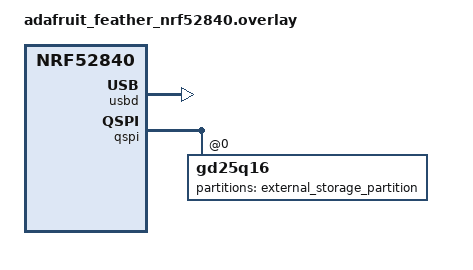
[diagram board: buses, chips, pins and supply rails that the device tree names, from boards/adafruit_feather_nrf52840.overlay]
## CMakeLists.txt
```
cmake_minimum_required(VERSION 3.20.0)
set(BOARD adafruit_feather_nrf52840) # added
find_package(Zephyr REQUIRED HINTS $ENV{ZEPHYR_BASE})

project(ext_flash_demo)

target_sources(app PRIVATE src/main.c)
```

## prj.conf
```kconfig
CONFIG_NVS=y
CONFIG_FLASH=y
CONFIG_FLASH_PAGE_LAYOUT=y
CONFIG_FLASH_MAP=y
CONFIG_NORDIC_QSPI_NOR=y

CONFIG_USB_DEVICE_STACK=y
CONFIG_USB_DEVICE_PRODUCT="adafruitusb"

CONFIG_USB_CDC_ACM=y
CONFIG_UART_LINE_CTRL=y
CONFIG_SERIAL=y
CONFIG_MAIN_STACK_SIZE=2048

# Enable Logging
CONFIG_LOG=y
CONFIG_LOG_MODE_IMMEDIATE=y

# Set Flash and QSPI logging to Debug level
CONFIG_FLASH_LOG_LEVEL_DBG=y

# Direct logs to your USB console
CONFIG_LOG_BACKEND_UART=y
```

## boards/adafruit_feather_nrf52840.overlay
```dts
/ {
    chosen {
        zephyr,console = &cdc_acm;
        zephyr,shell-uart = &cdc_acm;
    };

};

/* Enable the USB device controller */
&usbd {
    status = "okay";

    cdc_acm: cdc_acm {
        compatible = "zephyr,cdc-acm-uart";
        label = "CDC_ACM";
        status = "okay";
    };
};

&qspi {
    gd25q16: gd25q16@0 {
        /* Change this line specifically */
        jedec-id = [ ef 40 15 ]; 
        
        /* The rest can stay the same, but ensure read-only is gone */
        partitions {
            compatible = "fixed-partitions";
            #address-cells = <1>;
            #size-cells = <1>;
            external_storage_partition: partition@0 {
                label = "external_storage_partition";
                reg = <0x00000000 0x00020000>;
            };
        };
    };
};
```

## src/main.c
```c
#include <zephyr/kernel.h>
#include <zephyr/storage/flash_map.h>
#include <zephyr/fs/nvs.h>
#include <zephyr/sys/printk.h>
#include <zephyr/usb/usb_device.h>

// external flash partitions
//#define NVS_PARTITION		 external_storage_partition 
//#define NVS_PARTITION_DEVICE	 FIXED_PARTITION_DEVICE(NVS_PARTITION)
//#define NVS_PARTITION_OFFSET	 FIXED_PARTITION_OFFSET(NVS_PARTITION) 

/* Get the node identifier for the partition label in your overlay */
#define NVS_PARTITION_NODE DT_NODELABEL(external_storage_partition)

/* Use the DT_FLASH_AREA macros to get the device and offset */
#define NVS_PARTITION_DEVICE DEVICE_DT_GET(DT_MTD_FROM_FIXED_PARTITION(NVS_PARTITION_NODE))
#define NVS_PARTITION_OFFSET DT_REG_ADDR(NVS_PARTITION_NODE)

// id for nvs (each data == id) 
#define FS_ID 1

static struct nvs_fs fs = {
	.flash_device = NVS_PARTITION_DEVICE,
	.offset = NVS_PARTITION_OFFSET,
        .sector_size = 4096, 
        .sector_count = 32,
};

int main(void) {
        int err; 
        
        // enable USB 
        err= usb_enable(NULL);
        if (err) {
                printk("USB init failed: %d\n", err);
                return 0;
        }
        k_msleep(500);
        printk("USB console initialized.\n");
        k_msleep(5000);

        if (!device_is_ready(fs.flash_device)) {
                printk("Flash device %s is not ready\n", fs.flash_device->name);
                return 0;
        }

        err = nvs_mount(&fs); 
        if (err) {
                printk("nvs_mount failed"); 
                return 0; 
        }

        // array to be stored 
        int arr[5] = {85, 92, 78, 95, 88};
        
        // write the array 
        err = nvs_write(&fs, FS_ID, arr, sizeof(arr)); 
        if (err < 0) {
                printk("nvs_write failed");
        } 
        
        int read_buf[5]; 
        /// read the array
        err = nvs_read(&fs, FS_ID, read_buf, sizeof(read_buf)); 
        if (err < 0) {
                printk("nvs_read failed");
        } else {
                printk("read data1: %d %d %d %d %d", arr[0], arr[1], arr[2],  arr[3], arr[4]); 
        }

        // modify the array
        arr[0] = 20;

        // write the array 
        err = nvs_write(&fs, FS_ID, arr, sizeof(arr)); 
        if (err < 0) {
                printk("nvs_write failed");
        }

        /// read the array
        err = nvs_read(&fs, FS_ID, read_buf, sizeof(read_buf)); 
        if (err < 0) {
                printk("nvs_read failed");
        } else {
                printk("modified read data2: %d %d %d %d %d", arr[0], arr[1], arr[2],  arr[3], arr[4]); 
        }

        return 0; 

}
```
